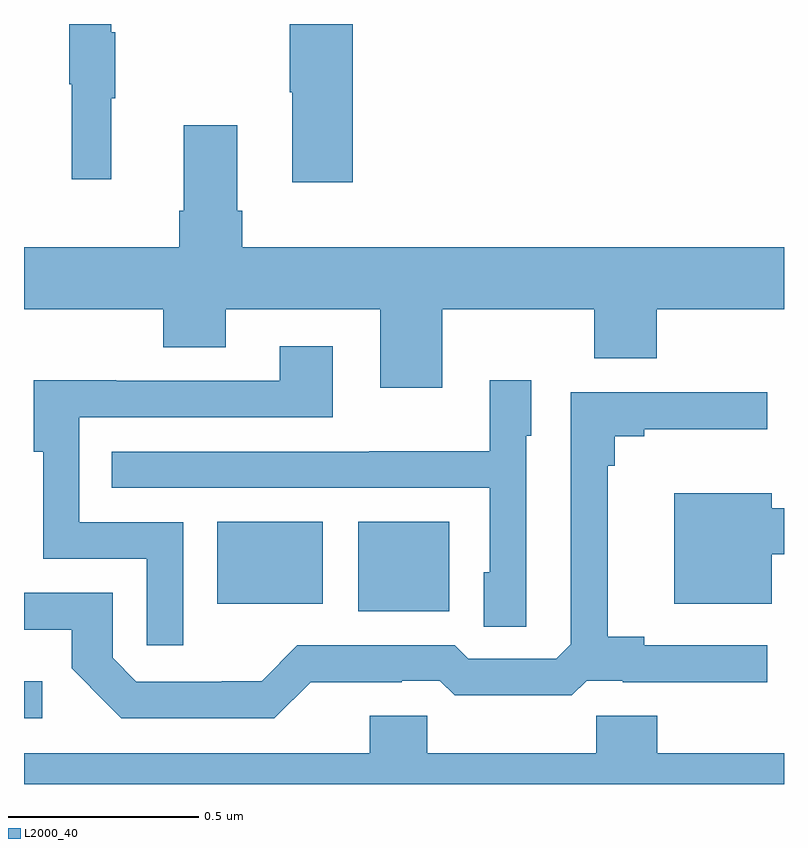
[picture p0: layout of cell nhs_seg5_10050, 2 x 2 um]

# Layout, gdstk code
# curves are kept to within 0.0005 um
import gdstk
lib = gdstk.Library(unit=1e-6, precision=1e-09)
def R(c, l, rs):  # rectangles x0, y0, x1, y1
    for r in rs: c.add(gdstk.rectangle(r[:2], r[2:], *l))
def P(c, l, *ps):  # polygons
    for p in ps: c.add(gdstk.Polygon(p, *l))
L2000_40 = (2000, 40)

nhs_seg5_10050 = lib.new_cell('nhs_seg5_10050')
R(nhs_seg5_10050, L2000_40, [(241,900.972,241.048,901.069), (241.88,901.253,242.119,901.489), (241.508,901.274,241.786,901.489)])
P(nhs_seg5_10050, L2000_40, [(241.865,902.799),(241.699,902.799),(241.699,902.62),(241.706,902.62),(241.706,902.382),(241.865,902.382)],
  [(241.229,902.603),(241.24,902.603),(241.24,902.777),(241.229,902.777),(241.229,902.799),(241.119,902.799),(241.119,902.64),(241.126,902.64),(241.126,902.391),(241.229,902.391)],
  [(242.101,902.048),(242.501,902.048),(242.501,901.92),(242.665,901.92),(242.665,902.048),(243,902.048),(243,902.212),(241.574,902.212),(241.574,902.308),(241.561,902.308),(241.561,902.533),(241.421,902.533),(241.421,902.308),(241.409,902.308),(241.409,902.212),(241,902.212),(241,902.048),(241.367,902.048),(241.367,901.949),(241.531,901.949),(241.531,902.048),(241.937,902.048),(241.937,901.842),(242.101,901.842)],
  [(241.419,901.488),(241.146,901.488),(241.146,901.764),(241.813,901.764),(241.813,901.951),(241.673,901.951),(241.673,901.86),(241.243,901.86),(241.243,901.862),(241.025,901.862),(241.025,901.674),(241.05,901.674),(241.05,901.392),(241.323,901.392),(241.323,901.164),(241.419,901.164)],
  [(242.322,901.716),(242.335,901.716),(242.335,901.861),(242.226,901.861),(242.226,901.675),(241.909,901.675),(241.909,901.674),(241.231,901.674),(241.231,901.578),(242.226,901.578),(242.226,901.356),(242.21,901.356),(242.21,901.213),(242.322,901.213)],
  [(241.754,901.067),(241.994,901.067),(241.994,901.071),(242.094,901.071),(242.134,901.032),(242.441,901.032),(242.481,901.071),(242.575,901.071),(242.575,901.067),(242.956,901.067),(242.956,901.164),(242.632,901.164),(242.632,901.187),(242.536,901.187),(242.536,901.637),(242.555,901.637),(242.555,901.714),(242.632,901.714),(242.632,901.733),(242.956,901.733),(242.956,901.83),(242.439,901.83),(242.439,901.167),(242.4,901.128),(242.169,901.128),(242.133,901.164),(241.719,901.164),(241.625,901.07),(241.52,901.07),(241.52,901.068),(241.296,901.068),(241.233,901.131),(241.233,901.302),(241,901.302),(241,901.205),(241.126,901.205),(241.126,901.103),(241.256,900.972),(241.659,900.972)],
  [(242.968,901.403),(243,901.403),(243,901.525),(242.968,901.525),(242.968,901.564),(242.711,901.564),(242.711,901.274),(242.968,901.274)],
  [(243,900.88),(242.666,900.88),(242.666,900.978),(242.506,900.978),(242.506,900.88),(242.061,900.88),(242.061,900.978),(241.91,900.978),(241.91,900.88),(241,900.88),(241,900.799),(243,900.799)])

lib.write_gds('nhs_seg5_10050.gds')
